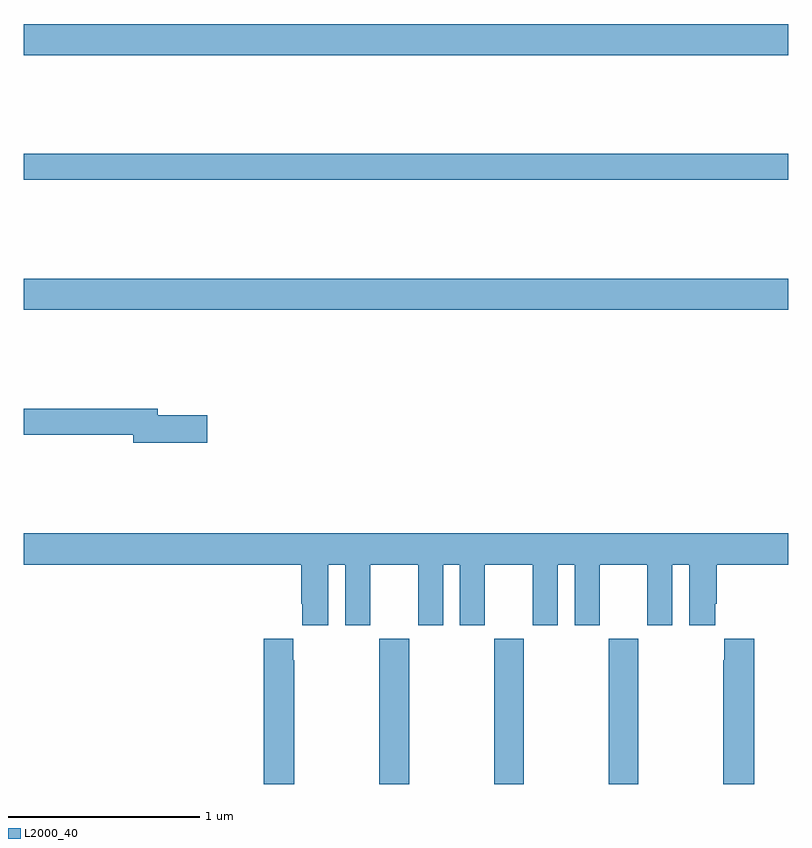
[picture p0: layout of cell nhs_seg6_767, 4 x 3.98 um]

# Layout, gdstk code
import gdstk
lib = gdstk.Library(unit=1e-6, precision=1e-09)
def R(c, l, rs):  # rectangles x0, y0, x1, y1
    for r in rs: c.add(gdstk.rectangle(r[:2], r[2:], *l))
def A(c, l, x, y, w, h, nx, ny, dx, dy):  # array of equal rectangles
    R(c, l, [(x+i*dx, y+j*dy, x+i*dx+w, y+j*dy+h) for i in range(nx) for j in range(ny)])
def P(c, l, *ps):  # polygons
    for p in ps: c.add(gdstk.Polygon(p, *l))
L2000_40 = (2000, 40)

nhs_seg6_767 = lib.new_cell('nhs_seg6_767')
A(nhs_seg6_767, L2000_40, 160.861, 967.5, 0.155, 0.76, 3, 1, 0.6, 0)
R(nhs_seg6_767, L2000_40, [(159,969.98,163,970.144), (159,970.66,163,970.796), (159,971.312,163,971.476)])
P(nhs_seg6_767, L2000_40, [(159.961,969.428),(159.7,969.428),(159.7,969.464),(159,969.464),(159,969.328),(159.572,969.328),(159.572,969.286),(159.961,969.286)],
  [(160.594,968.648),(160.682,968.648),(160.682,968.331),(160.813,968.331),(160.813,968.648),(161.063,968.648),(161.063,968.331),(161.194,968.331),(161.194,968.648),(161.282,968.648),(161.282,968.331),(161.413,968.331),(161.413,968.648),(161.663,968.648),(161.663,968.331),(161.794,968.331),(161.794,968.648),(161.882,968.648),(161.882,968.331),(162.013,968.331),(162.013,968.648),(162.263,968.648),(162.263,968.331),(162.394,968.331),(162.394,968.648),(162.482,968.648),(162.482,968.331),(162.619,968.331),(162.619,968.443),(162.626,968.443),(162.626,968.648),(163,968.648),(163,968.812),(159,968.812),(159,968.648),(160.451,968.648),(160.451,968.443),(160.457,968.443),(160.457,968.331),(160.594,968.331)],
  [(162.821,968.26),(162.665,968.26),(162.665,968.147),(162.661,968.147),(162.661,967.5),(162.821,967.5)],
  [(160.416,968.147),(160.411,968.147),(160.411,968.26),(160.256,968.26),(160.256,967.5),(160.416,967.5)])

lib.write_gds('nhs_seg6_767.gds')
